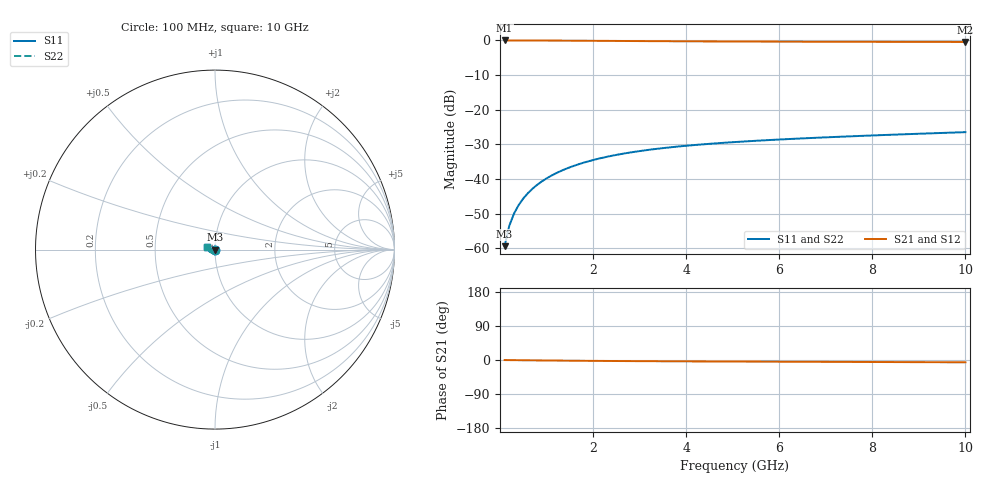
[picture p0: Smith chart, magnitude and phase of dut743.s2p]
! Touchstone file exported from HFSS 2024.1.0
!  File:  C:/UserFiles/LocalFiles/RDL_TSV_Batchsim/temp_TSV1_743_1779870506.aedt
!  Generated:  04:35:22 PM May 27, 2026
!  Design:  TSV1
!  Project:  temp_TSV1_743_1779870506
!  Setup:  Setup1
!  Solution:  Sweep
! Variables:
!  dtsv = 7.92um
!  hbump = 3um
!  htsv = 94.45um
!  lrdl = 252.1521522um
!  p = 40
!  p1 = 52.42um
!  t = 500um
!  trdl = 3um
!  wrdl = 24.89489489um
# GHz S MA R 50.000000
! Terminal data exported
! Port[1] = TSV22_T1
! Port[2] = TSV22_T2
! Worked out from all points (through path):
!   100 points, 100 MHz to 10 GHz, reference 50 ohm
!   highest |S21| = 0.00 dB at 100 MHz (marker M1); lowest = -0.4 dB at 10 GHz (marker M2)
!   lowest |S11| = -59.4 dB at 100 MHz (marker M3), VSWR 1.00, Z = 50 - j0.105 ohm
!   |S11| at or under -10 dB: start of sweep to end of sweep
!   |S22| runs from -59.4 to -26.5 dB; largest |S21 - S12| = 6e-15
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0.1  0.001069 -78.2  0.9997 -0.1  0.9997 -0.1  0.001069 -78.2
! Gamma 0 0 0 0
! Port Impedance 50 0 50 0
0.2  0.002103 -86.8  0.9996 -0.3  0.9996 -0.3  0.002103 -86.8
0.3  0.003143 -91.1  0.9994 -0.4  0.9994 -0.4  0.003143 -91.1
0.4  0.004179 -94.3  0.9991 -0.5  0.9991 -0.5  0.004179 -94.3
0.5  0.005207 -97.0  0.9988 -0.7  0.9988 -0.7  0.005207 -97.0
0.6  0.006226 -99.5  0.9984 -0.8  0.9984 -0.8  0.006226 -99.5
0.7  0.007234 -101.8  0.9979 -0.9  0.9979 -0.9  0.007234 -101.8
0.8  0.008228 -104.0  0.9974 -1.0  0.9974 -1.0  0.008228 -104.0
0.9  0.009208 -106.1  0.9968 -1.1  0.9968 -1.1  0.009208 -106.1
1.1  0.01112 -110.2  0.9956 -1.4  0.9956 -1.4  0.01112 -110.2
1.4  0.01384 -116.0  0.9933 -1.7  0.9933 -1.7  0.01384 -116.0
1.6  0.01556 -119.7  0.9917 -1.9  0.9917 -1.9  0.01556 -119.7
1.8  0.01719 -123.2  0.9899 -2.1  0.9899 -2.1  0.01719 -123.2
2.1  0.01948 -128.3  0.9873 -2.4  0.9873 -2.4  0.01948 -128.3
2.5  0.02223 -134.7  0.9837 -2.7  0.9837 -2.7  0.02223 -134.7
2.9  0.02468 -140.5  0.9802 -3.0  0.9802 -3.0  0.02468 -140.5
3.4  0.02736 -147.3  0.9762 -3.3  0.9762 -3.3  0.02736 -147.3
4.2  0.03095 -156.9  0.9705 -3.7  0.9705 -3.7  0.03095 -156.9
5.1  0.03426 -166.2  0.9654 -4.1  0.9654 -4.1  0.03426 -166.2
6.7  0.03906 -179.7  0.9589 -4.8  0.9589 -4.8  0.03905 -179.7
8.4  0.04345 168.7  0.9543 -5.4  0.9543 -5.4  0.04345 168.7
10  0.04737 159.7  0.9513 -6.1  0.9513 -6.1  0.04737 159.7
